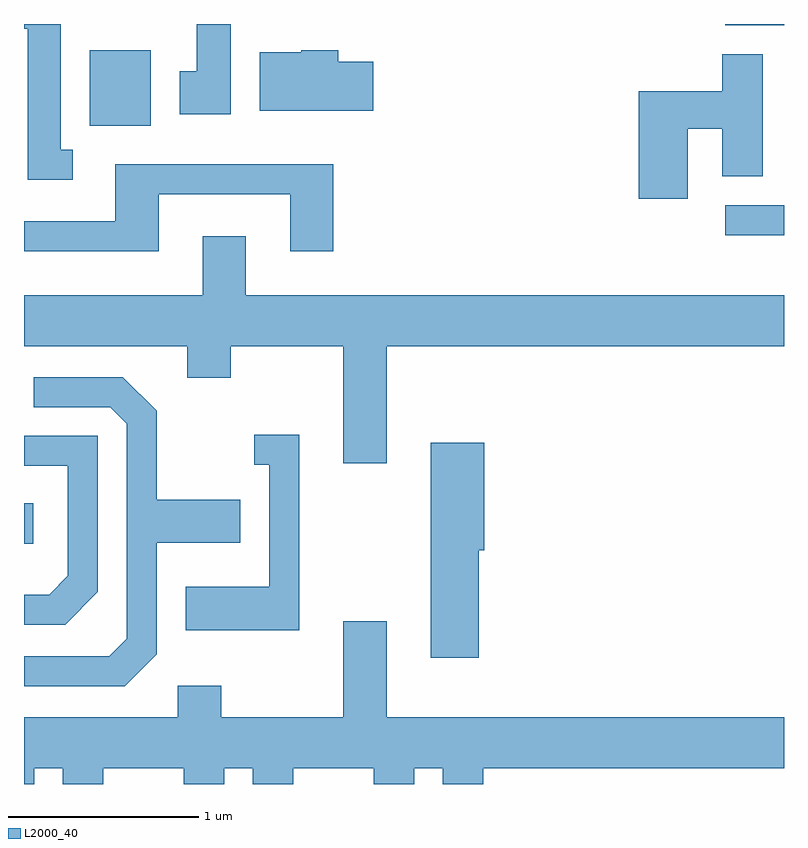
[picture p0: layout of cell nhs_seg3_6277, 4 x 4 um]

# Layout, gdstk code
import gdstk
lib = gdstk.Library(unit=1e-6, precision=1e-09)
def R(c, l, rs):  # rectangles x0, y0, x1, y1
    for r in rs: c.add(gdstk.rectangle(r[:2], r[2:], *l))
def P(c, l, *ps):  # polygons
    for p in ps: c.add(gdstk.Polygon(p, *l))
L2000_40 = (2000, 40)

nhs_seg3_6277 = lib.new_cell('nhs_seg3_6277')
R(nhs_seg3_6277, L2000_40, [(369.611,1167.156,369.659,1167.369), (373.303,1168.781,373.611,1168.939), (369.956,1169.356,370.279,1169.754), (373.303,1169.886,373.611,1169.892)])
P(nhs_seg3_6277, L2000_40, [(369.868,1169.229),(369.804,1169.229),(369.804,1169.892),(369.611,1169.892),(369.611,1169.866),(369.631,1169.866),(369.631,1169.071),(369.868,1169.071)],
  [(370.699,1169.892),(370.521,1169.892),(370.521,1169.644),(370.431,1169.644),(370.431,1169.416),(370.699,1169.416)],
  [(371.449,1169.694),(371.264,1169.694),(371.264,1169.754),(371.07,1169.754),(371.07,1169.744),(370.851,1169.744),(370.851,1169.436),(371.449,1169.436)],
  [(373.104,1169.341),(373.286,1169.341),(373.286,1169.091),(373.499,1169.091),(373.499,1169.734),(373.286,1169.734),(373.286,1169.539),(372.846,1169.539),(372.846,1168.971),(373.104,1168.971)],
  [(370.319,1168.996),(371.011,1168.996),(371.011,1168.696),(371.239,1168.696),(371.239,1169.154),(370.091,1169.154),(370.091,1168.854),(369.611,1168.854),(369.611,1168.696),(370.319,1168.696)],
  [(371.519,1168.196),(373.611,1168.196),(373.611,1168.464),(370.779,1168.464),(370.779,1168.774),(370.551,1168.774),(370.551,1168.464),(369.611,1168.464),(369.611,1168.196),(370.471,1168.196),(370.471,1168.031),(370.699,1168.031),(370.699,1168.196),(371.291,1168.196),(371.291,1167.581),(371.519,1167.581)],
  [(370.309,1166.574),(370.309,1167.161),(370.749,1167.161),(370.749,1167.389),(370.309,1167.389),(370.309,1167.857),(370.132,1168.034),(369.663,1168.034),(369.663,1167.876),(370.064,1167.876),(370.151,1167.789),(370.151,1166.657),(370.059,1166.564),(369.613,1166.564),(369.613,1166.406),(370.142,1166.406)],
  [(371.059,1167.729),(370.823,1167.729),(370.823,1167.571),(370.901,1167.571),(370.901,1166.929),(370.461,1166.929),(370.461,1166.701),(371.059,1166.701)],
  [(369.999,1166.904),(369.999,1167.724),(369.611,1167.724),(369.611,1167.566),(369.841,1167.566),(369.841,1166.987),(369.744,1166.889),(369.611,1166.889),(369.611,1166.731),(369.827,1166.731)],
  [(372.004,1167.121),(372.034,1167.121),(372.034,1167.689),(371.751,1167.689),(371.751,1166.556),(372.004,1166.556)],
  [(369.664,1165.976),(369.816,1165.976),(369.816,1165.892),(370.029,1165.892),(370.029,1165.976),(370.451,1165.976),(370.451,1165.892),(370.664,1165.892),(370.664,1165.976),(370.816,1165.976),(370.816,1165.892),(371.029,1165.892),(371.029,1165.976),(371.451,1165.976),(371.451,1165.892),(371.664,1165.892),(371.664,1165.976),(371.816,1165.976),(371.816,1165.892),(372.029,1165.892),(372.029,1165.976),(373.611,1165.976),(373.611,1166.244),(371.519,1166.244),(371.519,1166.749),(371.291,1166.749),(371.291,1166.244),(370.649,1166.244),(370.649,1166.409),(370.421,1166.409),(370.421,1166.244),(369.611,1166.244),(369.611,1165.892),(369.664,1165.892)])

lib.write_gds('nhs_seg3_6277.gds')
